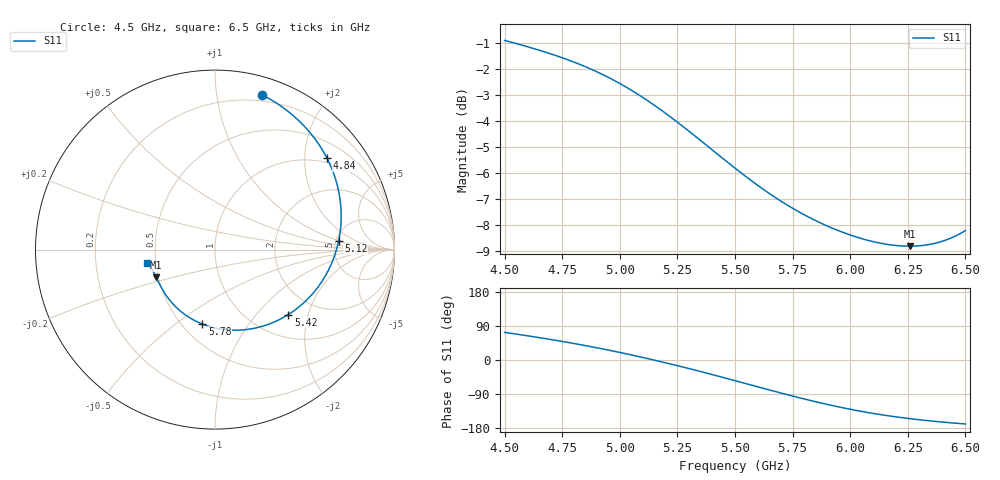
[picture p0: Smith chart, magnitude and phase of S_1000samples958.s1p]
! TOUCHSTONE file generated by CST MICROWAVE STUDIO
! Date and time: Sat Oct 29 22:21:09 2022
! Project name: L.cst
! Parameters = {Di=1.27; Epsilon_r=1.56; InnerDiameter=1.27; Length=2; Lf=10; Lg=60; OuterConductorThickness=0.2921; OuterDiameter=3.6; Wf=3; Wp=41.2; de=1.5; df=6.8; g=0.8; gx=1.31742; gy=1.87087; h=2.34; hf=1.524; px=9.88486; py=9.85267; w=9.7; wx=8.56744; wy=7.9818}
! Header version: 2018
! Port assignment regex: !\s*Touchstone port\s*([0-9]+)\s*=\s*(CST MWS port|CST DS port)\s*([0-9]+|Zmin|Zmax)\s*\(\"(.*)\"\)(\s*mode\s*([0-9]+))?.*
! Touchstone port assignment:
! Touchstone port 1 = CST MWS port 1 ("")
# GHz S DB R 50
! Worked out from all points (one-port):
!   101 points, 4.5 GHz to 6.5 GHz, reference 50 ohm
!   lowest |S11| = -8.8 dB at 6.26 GHz (marker M1), VSWR 2.13, Z = 24.3 - j8.6 ohm
!   |S11| at or under -10 dB: nowhere
!   S11 on the Smith chart (normalised r, x): 4.5 GHz: 0.15, +1.34; 4.84 GHz: 0.88, +2.54; 5.12 GHz: 5.28, +0.93; 5.42 GHz: 1.46, -1.51; 5.78 GHz: 0.62, -0.63; 6.5 GHz: 0.44, -0.08
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4.5  -0.91 73.0
4.58  -1.10 65.7
4.64  -1.26 60.0
4.7  -1.43 54.1
4.76  -1.61 47.9
4.84  -1.88 39.2
4.92  -2.20 29.8
5  -2.57 19.9
5.06  -2.88 12.0
5.12  -3.22 3.8
5.18  -3.59 -4.7
5.26  -4.12 -16.5
5.34  -4.68 -28.8
5.42  -5.26 -41.5
5.46  -5.54 -48.0
5.5  -5.82 -54.5
5.56  -6.23 -64.4
5.62  -6.62 -74.2
5.68  -6.98 -84.0
5.76  -7.42 -96.6
5.78  -7.52 -99.7
5.88  -7.97 -114.4
5.94  -8.20 -122.5
6  -8.40 -130.0
6.12  -8.69 -143.0
6.26  -8.83 -154.9
6.38  -8.69 -162.6
6.5  -8.23 -168.8
